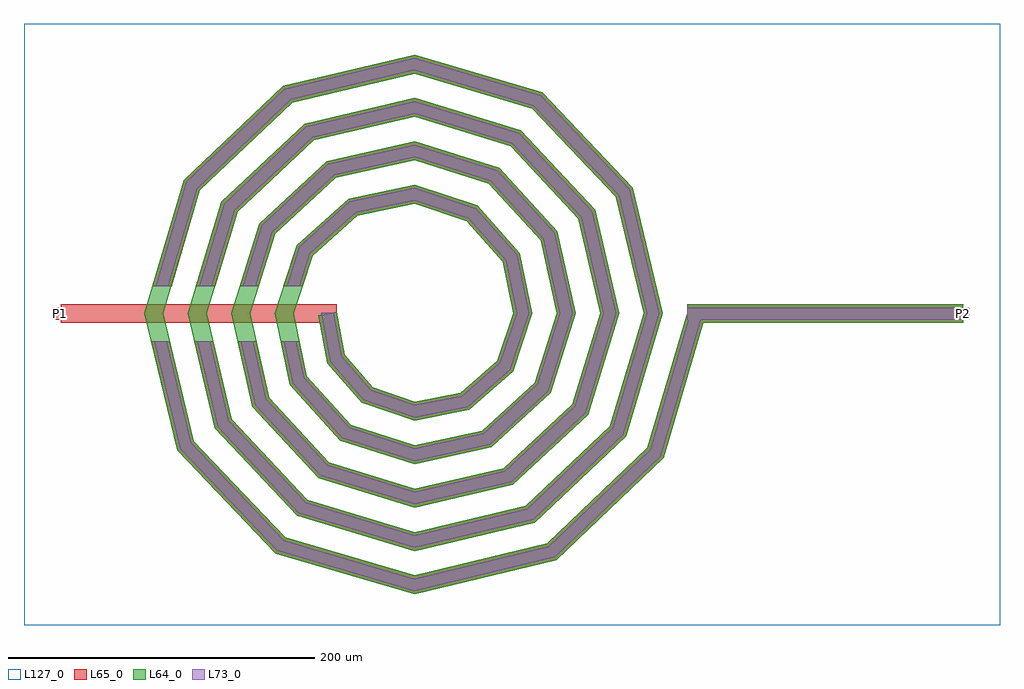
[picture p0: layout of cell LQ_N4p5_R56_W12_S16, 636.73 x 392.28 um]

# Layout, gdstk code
import gdstk
lib = gdstk.Library(unit=1e-6, precision=1e-09)
def R(c, l, rs):  # rectangles x0, y0, x1, y1
    for r in rs: c.add(gdstk.rectangle(r[:2], r[2:], *l))
def P(c, l, *ps):  # polygons
    for p in ps: c.add(gdstk.Polygon(p, *l))
L64_0 = (64, 0)
L65_0 = (65, 0)
L73_0 = (73, 0)
L127_0 = (127, 0)

lq_n4p5_r56_w12_s16 = lib.new_cell('LQ_N4p5_R56_W12_S16')
R(lq_n4p5_r56_w12_s16, L64_0, [(178.09,-6,358.09,6)])
P(lq_n4p5_r56_w12_s16, L64_0, [(-45.5,-26.804),(-27.197,-47.997),(0.429,-57.525),(30.3,-51.654),(54.104,-30.776),(64.603,0.386),(57.804,33.804),(34.347,60.215),(0.351,71.681),(-37.315,63.951),(-66.33,37.914),(-78.76,0.322),(-70.096,-40.831),(-41.476,-72.448),(0.297,-85.84),(44.351,-76.238),(78.568,-45.035),(92.919,0.276),(82.379,47.873),(48.591,84.689),(0.257,99.999),(-51.398,88.519),(-90.812,52.146),(-107.079,0.241),(-94.658,-54.924),(-55.699,-96.936),(0.227,-114.159),(58.452,-100.797),(103.061,-59.25),(121.239,0.215),(106.934,61.982),(62.8,109.187),(0.203,128.319),(-65.512,113.071),(-115.313,66.349),(-135.399,0.193),(-119.208,-69.044),(-69.898,-121.44),(0.184,-142.479),(72.576,-125.344),(127.567,-73.445),(149.559,0.176),(131.48,76.109),(76.992,133.695),(0.168,156.639),(-79.643,137.615),(-139.823,80.538),(-163.72,0.161),(-143.75,-83.177),(-84.084,-145.952),(0.155,-170.8),(86.712,-149.885),(152.08,-87.63),(178.334,1.692),(189.847,-1.692),(162.686,-94.1),(92.658,-160.793),(0.155,-183.22),(-90.566,-156.551),(-154.665,-89.112),(-176.139,0.161),(-150.416,87.031),(-85.566,148.536),(0.168,169.059),(83.497,144.28),(142.408,82.02),(161.978,0.176),(138.144,-79.963),(78.472,-136.28),(0.184,-154.898),(-76.431,-132.008),(-130.152,-74.924),(-147.817,0.193),(-125.871,72.898),(-71.375,124.025),(0.203,140.736),(69.367,119.734),(117.899,67.826),(133.656,0.215),(113.596,-65.837),(64.275,-111.772),(0.227,-126.575),(-62.308,-107.457),(-105.647,-60.722),(-119.494,0.241),(-101.318,58.78),(-57.169,99.523),(0.257,112.413),(55.254,95.177),(93.399,53.613),(105.332,0.276),(89.035,-51.73),(50.055,-87.277),(0.297,-98.251),(-48.209,-82.891),(-81.156,-46.494),(-91.169,0.322),(-76.745,44.691),(-42.929,75.037),(0.351,84.088),(41.177,70.597),(68.92,39.36),(77.005,0.386),(64.444,-37.668),(35.784,-62.806),(0.429,-69.923),(-34.166,-58.287),(-56.696,-32.199),(-62.54,-1.108),(-50.746,1.108)])
R(lq_n4p5_r56_w12_s16, L65_0, [(-230.643,-6,-50.643,6), (178.09,-6,358.09,6), (-234.643,-4,-226.643,4), (354.09,-4,362.09,4)])
P(lq_n4p5_r56_w12_s16, L65_0, [(-143.75,-83.177),(-84.084,-145.952),(0.155,-170.8),(86.712,-149.885),(152.08,-87.63),(178.334,1.692),(189.847,-1.692),(162.686,-94.101),(92.658,-160.793),(0.155,-183.22),(-90.566,-156.551),(-154.665,-89.112),(-171.771,-18),(-159.429,-18)],
  [(-119.208,-69.044),(-69.898,-121.44),(0.184,-142.479),(72.576,-125.344),(127.567,-73.445),(149.559,0.176),(131.48,76.109),(76.992,133.695),(0.168,156.64),(-79.643,137.615),(-139.823,80.539),(-158.342,18),(-170.857,18),(-150.416,87.031),(-85.566,148.536),(0.168,169.059),(83.497,144.28),(142.408,82.02),(161.978,0.176),(138.144,-79.963),(78.472,-136.28),(0.184,-154.898),(-76.431,-132.008),(-130.152,-74.924),(-143.539,-18),(-131.211,-18)],
  [(-94.659,-54.924),(-55.699,-96.936),(0.227,-114.159),(58.452,-100.797),(103.061,-59.25),(121.239,0.215),(106.934,61.982),(62.8,109.187),(0.203,128.319),(-65.512,113.071),(-115.313,66.349),(-129.907,18),(-142.442,18),(-125.871,72.899),(-71.375,124.025),(0.203,140.736),(69.367,119.734),(117.899,67.826),(133.656,0.215),(113.596,-65.837),(64.275,-111.773),(0.227,-126.575),(-62.308,-107.457),(-105.647,-60.722),(-115.351,-18),(-103.045,-18)],
  [(-70.096,-40.831),(-41.476,-72.448),(0.297,-85.84),(44.351,-76.238),(78.568,-45.035),(92.919,0.276),(82.379,47.873),(48.592,84.69),(0.257,99.999),(-51.398,88.519),(-90.812,52.146),(-101.415,18),(-113.98,18),(-101.318,58.78),(-57.169,99.523),(0.257,112.413),(55.254,95.177),(93.399,53.613),(105.332,0.276),(89.035,-51.731),(50.055,-87.277),(0.297,-98.251),(-48.209,-82.891),(-81.156,-46.494),(-87.25,-18),(-74.979,-18)],
  [(-27.197,-47.997),(0.429,-57.525),(30.3,-51.654),(54.104,-30.776),(64.603,0.386),(57.804,33.804),(34.348,60.215),(0.351,71.681),(-37.315,63.951),(-66.33,37.914),(-72.804,18),(-85.422,18),(-76.745,44.691),(-42.929,75.037),(0.351,84.088),(41.177,70.597),(68.92,39.36),(77.005,0.386),(64.445,-37.668),(35.784,-62.806),(0.429,-69.923),(-34.166,-58.287),(-56.696,-32.199),(-62.54,-1.108),(-50.746,1.108),(-45.5,-26.804)])
R(lq_n4p5_r56_w12_s16, L73_0, [(178.09,-4,358.09,4)])
P(lq_n4p5_r56_w12_s16, L73_0, [(-145.569,-84.167),(-85.165,-147.718),(0.103,-172.87),(87.703,-151.703),(153.848,-88.708),(180.253,1.128),(187.928,-1.128),(160.918,-93.022),(91.667,-158.975),(0.103,-181.15),(-89.485,-154.784),(-152.846,-88.123),(-169.714,-18),(-161.486,-18)],
  [(-121.032,-70.024),(-70.987,-123.201),(0.123,-144.549),(73.559,-127.167),(129.33,-74.532),(151.629,0.117),(133.301,77.094),(78.076,135.459),(0.112,158.709),(-80.63,139.435),(-141.589,81.621),(-160.428,18),(-168.771,18),(-148.65,85.949),(-84.579,146.716),(0.112,166.989),(82.413,142.516),(140.586,81.035),(159.909,0.117),(136.381,-78.877),(77.49,-134.457),(0.123,-152.828),(-75.342,-130.247),(-128.328,-73.944),(-141.484,-18),(-133.266,-18)],
  [(-96.49,-55.891),(-56.8,-98.69),(0.151,-116.228),(59.423,-102.626),(104.817,-60.348),(123.308,0.143),(108.762,62.956),(63.895,110.945),(0.136,130.388),(-66.49,114.897),(-117.073,67.441),(-131.997,18),(-140.353,18),(-124.112,71.807),(-70.398,122.2),(0.136,138.667),(68.273,117.976),(116.071,66.852),(131.586,0.143),(111.84,-64.739),(63.304,-109.943),(0.151,-124.506),(-61.206,-105.704),(-103.816,-59.756),(-113.3,-18),(-105.096,-18)],
  [(-71.939,-41.775),(-42.598,-74.189),(0.198,-87.908),(45.301,-78.078),(80.312,-46.151),(94.988,0.184),(84.216,48.83),(49.702,86.437),(0.172,102.068),(-52.359,90.353),(-92.563,53.252),(-103.509,18),(-111.886,18),(-99.567,57.675),(-56.207,97.689),(0.172,110.344),(54.144,93.429),(91.562,52.656),(103.263,0.184),(87.29,-50.615),(49.104,-85.437),(0.198,-96.182),(-47.087,-81.151),(-79.312,-45.55),(-85.205,-18),(-77.024,-18)],
  [(-28.359,-49.712),(0.286,-59.591),(31.214,-53.513),(55.827,-31.925),(66.67,0.257),(59.657,34.73),(35.486,61.945),(0.234,73.749),(-38.251,65.799),(-68.066,39.043),(-74.907,18),(-83.319,18),(-75.009,43.561),(-41.994,73.189),(0.234,82.02),(40.039,68.866),(67.067,38.434),(74.938,0.257),(62.721,-36.519),(34.87,-60.948),(0.286,-67.856),(-33.005,-56.572),(-54.83,-31.3),(-60.574,0.739),(-52.712,0.739),(-47.366,-27.703)])
R(lq_n4p5_r56_w12_s16, L127_0, [(-254.643,-203.22,382.09,189.059)])
lq_n4p5_r56_w12_s16.add(gdstk.Label('P2', (358.09,0), layer=65, texttype=0))
lq_n4p5_r56_w12_s16.add(gdstk.Label('P1', (-230.643,0), layer=65, texttype=0))
lq_n4p5_r56_w12_s16.add(gdstk.Label('P2', (362.09,0), layer=145, texttype=0))
lq_n4p5_r56_w12_s16.add(gdstk.Label('P1', (-234.643,0), layer=145, texttype=0))

lib.write_gds('LQ_N4p5_R56_W12_S16.gds')
